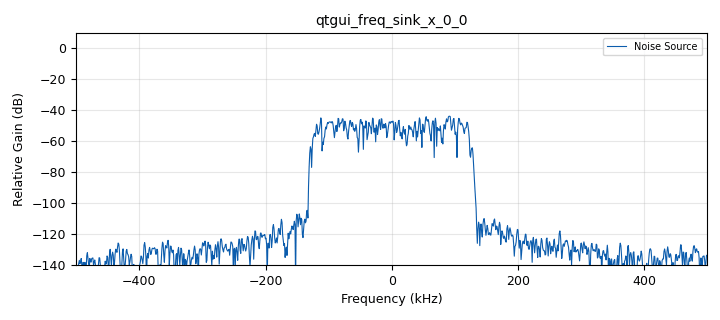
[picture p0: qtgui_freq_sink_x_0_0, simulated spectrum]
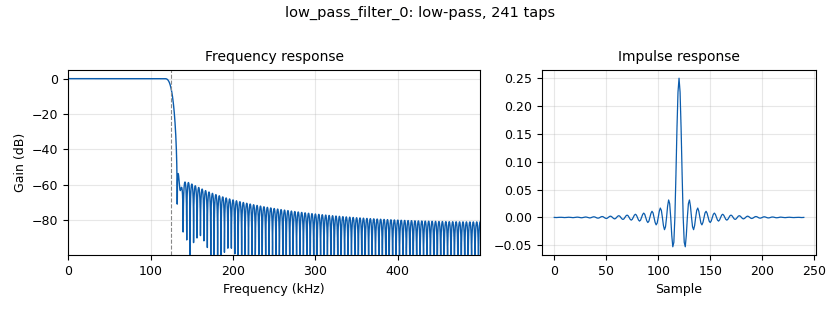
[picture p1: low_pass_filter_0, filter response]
<?xml version='1.0' encoding='utf-8'?>
<?grc format='1' created='3.7.12'?>
<flow_graph>
<block>
<key>options</key>
<param><key>id</key><value>concatenated_qpsk_modem_txrx_gui_noise_gen</value></param>
<param><key>generate_options</key><value>qt_gui</value></param>
<param><key>max_nouts</key><value>1279*8*sps_tx</value></param>
<param><key>realtime_scheduling</key><value>1</value></param>
</block>
<block>
<key>variable</key>
<param><key>id</key><value>R</value></param>
<param><key>value</key><value>1/2.</value></param>
</block>
<block>
<key>variable</key>
<param><key>id</key><value>arity</value></param>
<param><key>value</key><value>2**constel.bits_per_symbol()</value></param>
</block>
<block>
<key>variable</key>
<param><key>id</key><value>bps</value></param>
<param><key>value</key><value>constel.bits_per_symbol()</value></param>
</block>
<block>
<key>variable_constellation</key>
<param><key>id</key><value>constel</value></param>
<param><key>const_points</key><value>digital.psk_2()[0]</value></param>
<param><key>type</key><value>qpsk</value></param>
<param><key>soft_dec_lut</key><value>'auto'</value></param>
<param><key>precision</key><value>8</value></param>
<param><key>sym_map</key><value>digital.psk_2()[1]</value></param>
</block>
<block>
<key>variable</key>
<param><key>id</key><value>eb</value></param>
<param><key>value</key><value>0.7</value></param>
</block>
<block>
<key>variable_qtgui_range</key>
<param><key>id</key><value>idle_frame_shift</value></param>
<param><key>value</key><value>-12+8+4</value></param>
<param><key>_enabled</key><value>0</value></param>
<param><key>gui_hint</key><value>6,0,1,2</value></param>
<param><key>label</key><value>Idle Frame Shift</value></param>
<param><key>orient</key><value>Qt.Horizontal</value></param>
<param><key>start</key><value>-64</value></param>
<param><key>step</key><value>2</value></param>
<param><key>stop</key><value>64</value></param>
</block>
<block>
<key>variable</key>
<param><key>id</key><value>idle_frame_shift</value></param>
<param><key>_enabled</key><value>0</value></param>
<param><key>value</key><value>-12+8+4-4</value></param>
</block>
<block>
<key>variable_modulate_vector</key>
<param><key>id</key><value>modulated_preamble_untrimmed</value></param>
<param><key>data</key><value>encoded_sync_word+[0]*6+encoded_sync_word+[255]*6+encoded_sync_word+[0]*6</value></param>
<param><key>_enabled</key><value>0</value></param>
<param><key>taps</key><value>[1]</value></param>
<param><key>mod</key><value>digital.generic_mod(constellation=constel,differential=False,samples_per_symbol=sps_rx,pre_diff_code=True,excess_bw=eb,verbose=False,log=False)</value></param>
</block>
<block>
<key>variable</key>
<param><key>id</key><value>modulated_sync_word</value></param>
<param><key>_enabled</key><value>0</value></param>
<param><key>value</key><value>[modulated_preamble_untrimmed[i] for i in range(555, 775)]</value></param>
</block>
<block>
<key>variable</key>
<param><key>id</key><value>nfilts</value></param>
<param><key>value</key><value>32</value></param>
</block>
<block>
<key>variable</key>
<param><key>id</key><value>rrc_taps</value></param>
<param><key>value</key><value>firdes.root_raised_cosine(nfilts, nfilts, 1.0/float(sps_rx), eb, 11*sps_rx*nfilts)</value></param>
</block>
<block>
<key>variable</key>
<param><key>id</key><value>rx_data_rate</value></param>
<param><key>value</key><value>rx_user_data_rate/R</value></param>
</block>
<block>
<key>variable</key>
<param><key>id</key><value>rx_data_rate_sps</value></param>
<param><key>value</key><value>rx_data_rate/bps</value></param>
</block>
<block>
<key>variable</key>
<param><key>id</key><value>samp_rate_rx</value></param>
<param><key>value</key><value>rx_data_rate*sps_rx</value></param>
</block>
<block>
<key>variable</key>
<param><key>id</key><value>samp_rate_tx</value></param>
<param><key>value</key><value>tx_data_rate*sps_tx</value></param>
</block>
<block>
<key>variable</key>
<param><key>id</key><value>sps_rx</value></param>
<param><key>value</key><value>2</value></param>
</block>
<block>
<key>variable</key>
<param><key>id</key><value>sps_tx</value></param>
<param><key>value</key><value>2</value></param>
</block>
<block>
<key>variable</key>
<param><key>id</key><value>tx_data_rate</value></param>
<param><key>value</key><value>tx_user_data_rate/R</value></param>
</block>
<block>
<key>variable</key>
<param><key>id</key><value>tx_data_rate_sps</value></param>
<param><key>value</key><value>tx_data_rate/bps</value></param>
</block>
<block>
<key>variable</key>
<param><key>id</key><value>user_data_rate</value></param>
<param><key>_enabled</key><value>0</value></param>
<param><key>value</key><value>0.25e6*0+125e3/2</value></param>
</block>
<block>
<key>analog_fastnoise_source_x</key>
<param><key>id</key><value>analog_fastnoise_source_x_0</value></param>
<param><key>amp</key><value>.2</value></param>
<param><key>noise_type</key><value>analog.GR_GAUSSIAN</value></param>
<param><key>type</key><value>complex</value></param>
<param><key>seed</key><value>0</value></param>
<param><key>samples</key><value>8192</value></param>
</block>
<block>
<key>blocks_char_to_float</key>
<param><key>id</key><value>blocks_char_to_float_0</value></param>
<param><key>_enabled</key><value>0</value></param>
<param><key>scale</key><value>1</value></param>
</block>
<block>
<key>blocks_complex_to_arg</key>
<param><key>id</key><value>blocks_complex_to_arg_1</value></param>
<param><key>_enabled</key><value>0</value></param>
</block>
<block>
<key>blocks_complex_to_mag_squared</key>
<param><key>id</key><value>blocks_complex_to_mag_squared_0</value></param>
<param><key>_enabled</key><value>0</value></param>
</block>
<block>
<key>blocks_file_sink</key>
<param><key>id</key><value>blocks_file_sink_0</value></param>
<param><key>_enabled</key><value>0</value></param>
<param><key>file</key><value>file_prefix + "/Downloads/blah.txt"</value></param>
<param><key>type</key><value>byte</value></param>
</block>
<block>
<key>blocks_multiply_const_vxx</key>
<param><key>id</key><value>blocks_multiply_const_vxx_1_0</value></param>
<param><key>const</key><value>1.0/pi</value></param>
<param><key>_enabled</key><value>0</value></param>
<param><key>type</key><value>float</value></param>
</block>
<block>
<key>blocks_multiply_const_vxx</key>
<param><key>id</key><value>blocks_multiply_const_vxx_1_0_0</value></param>
<param><key>const</key><value>1.0/20e3</value></param>
<param><key>_enabled</key><value>0</value></param>
<param><key>type</key><value>float</value></param>
</block>
<block>
<key>blocks_pdu_to_tagged_stream</key>
<param><key>id</key><value>blocks_pdu_to_tagged_stream_0</value></param>
<param><key>_enabled</key><value>0</value></param>
<param><key>type</key><value>byte</value></param>
<param><key>tag</key><value>packet_len</value></param>
</block>
<block>
<key>blocks_stream_to_tagged_stream</key>
<param><key>id</key><value>blocks_stream_to_tagged_stream_0</value></param>
<param><key>_enabled</key><value>0</value></param>
<param><key>len_tag_key</key><value>"packet_len"</value></param>
<param><key>packet_len</key><value>1115</value></param>
<param><key>type</key><value>byte</value></param>
</block>
<block>
<key>digital_corr_est_cc</key>
<param><key>id</key><value>digital_corr_est_cc_0_0</value></param>
<param><key>_enabled</key><value>0</value></param>
<param><key>sps</key><value>sps_rx</value></param>
<param><key>symbols</key><value>modulated_sync_word</value></param>
<param><key>mark_delay</key><value>len(modulated_sync_word)-1-sps_tx/2</value></param>
<param><key>threshold</key><value>threshold</value></param>
</block>
<block>
<key>epy_module</key>
<param><key>id</key><value>epy_tools</value></param>
<param><key>source_code</key><value>
def reverse_bits(x):
    return int(bin(x)[2:][::-1], base=2)

</value></param>
</block>
<block>
<key>parameter</key>
<param><key>id</key><value>eq_gain</value></param>
<param><key>label</key><value>Equalizer Rate</value></param>
<param><key>type</key><value>eng_float</value></param>
<param><key>value</key><value>0.01</value></param>
</block>
<block>
<key>parameter</key>
<param><key>id</key><value>file_prefix</value></param>
<param><key>label</key><value>File Prefix</value></param>
<param><key>type</key><value>string</value></param>
<param><key>value</key><value>expanduser('~')</value></param>
</block>
<block>
<key>parameter</key>
<param><key>id</key><value>gain</value></param>
<param><key>label</key><value>Gain</value></param>
<param><key>type</key><value>eng_float</value></param>
<param><key>value</key><value>40</value></param>
</block>
<block>
<key>he2pi_file_zeropad_source</key>
<param><key>id</key><value>he2pi_file_zeropad_source_0</value></param>
<param><key>_enabled</key><value>0</value></param>
<param><key>file</key><value>file_prefix + "/Downloads/shakespeare.txt"</value></param>
<param><key>type</key><value>byte</value></param>
<param><key>repeat</key><value>True</value></param>
<param><key>slp</key><value>1000</value></param>
<param><key>vlen</key><value>1</value></param>
<param><key>zeropad</key><value>int(samp_rate_tx)</value></param>
</block>
<block>
<key>parameter</key>
<param><key>id</key><value>idle_block_time</value></param>
<param><key>label</key><value>Idle Block Time (ms)</value></param>
<param><key>type</key><value>eng_float</value></param>
<param><key>value</key><value>50</value></param>
</block>
<block>
<key>import</key>
<param><key>id</key><value>import_home</value></param>
<param><key>import</key><value>from os.path import expanduser</value></param>
</block>
<block>
<key>import</key>
<param><key>id</key><value>import_pi</value></param>
<param><key>import</key><value>from math import pi</value></param>
</block>
<block>
<key>low_pass_filter</key>
<param><key>id</key><value>low_pass_filter_0</value></param>
<param><key>cutoff_freq</key><value>tx_data_rate_sps/2</value></param>
<param><key>decim</key><value>1</value></param>
<param><key>type</key><value>fir_filter_ccf</value></param>
<param><key>gain</key><value>1</value></param>
<param><key>samp_rate</key><value>samp_rate_tx</value></param>
<param><key>width</key><value>10e3</value></param>
<param><key>win</key><value>firdes.WIN_HAMMING</value></param>
</block>
<block>
<key>parameter</key>
<param><key>id</key><value>mtu</value></param>
<param><key>label</key><value>MTU</value></param>
<param><key>type</key><value>intx</value></param>
<param><key>value</key><value>1115</value></param>
</block>
<block>
<key>parameter</key>
<param><key>id</key><value>phase_bw</value></param>
<param><key>label</key><value>Phase Bandwidth</value></param>
<param><key>type</key><value>eng_float</value></param>
<param><key>value</key><value>6.28/100.0*0+0.05</value></param>
</block>
<block>
<key>qtgui_freq_sink_x</key>
<param><key>id</key><value>qtgui_freq_sink_x_0</value></param>
<param><key>bw</key><value>samp_rate_rx</value></param>
<param><key>fc</key><value>0</value></param>
<param><key>fftsize</key><value>1024</value></param>
<param><key>label1</key><value>Received</value></param>
<param><key>showports</key><value>True</value></param>
<param><key>type</key><value>complex</value></param>
<param><key>wintype</key><value>firdes.WIN_BLACKMAN_hARRIS</value></param>
</block>
<block>
<key>qtgui_freq_sink_x</key>
<param><key>id</key><value>qtgui_freq_sink_x_0_0</value></param>
<param><key>bw</key><value>samp_rate_tx</value></param>
<param><key>fc</key><value>0</value></param>
<param><key>fftsize</key><value>1024</value></param>
<param><key>label1</key><value>Noise Source</value></param>
<param><key>showports</key><value>True</value></param>
<param><key>type</key><value>complex</value></param>
<param><key>wintype</key><value>firdes.WIN_BLACKMAN_hARRIS</value></param>
</block>
<block>
<key>qtgui_time_sink_x</key>
<param><key>id</key><value>qtgui_time_sink_x_0</value></param>
<param><key>_enabled</key><value>0</value></param>
<param><key>color1</key><value>"blue"</value></param>
<param><key>label1</key><value></value></param>
<param><key>size</key><value>1024</value></param>
<param><key>srate</key><value>user_data_rate</value></param>
<param><key>type</key><value>float</value></param>
</block>
<block>
<key>qtgui_time_sink_x</key>
<param><key>id</key><value>qtgui_time_sink_x_2_0_0</value></param>
<param><key>_enabled</key><value>0</value></param>
<param><key>grid</key><value>True</value></param>
<param><key>color1</key><value>"blue"</value></param>
<param><key>label1</key><value>"Rx Phase"</value></param>
<param><key>color2</key><value>"red"</value></param>
<param><key>label2</key><value>"|Correlation|^2"</value></param>
<param><key>name</key><value>"Correlation Outputs"</value></param>
<param><key>nconnections</key><value>2</value></param>
<param><key>size</key><value>1024*4</value></param>
<param><key>srate</key><value>samp_rate_tx</value></param>
<param><key>tr_delay</key><value>0.0005</value></param>
<param><key>tr_level</key><value>0.5</value></param>
<param><key>tr_mode</key><value>qtgui.TRIG_MODE_TAG</value></param>
<param><key>tr_tag</key><value>"corr_start"</value></param>
<param><key>type</key><value>float</value></param>
<param><key>ymax</key><value>1.5</value></param>
<param><key>ymin</key><value>-1.5</value></param>
</block>
<block>
<key>parameter</key>
<param><key>id</key><value>rx_freq</value></param>
<param><key>label</key><value>RX Frequency</value></param>
<param><key>type</key><value>eng_float</value></param>
<param><key>value</key><value>415e6</value></param>
</block>
<block>
<key>parameter</key>
<param><key>id</key><value>rx_user_data_rate</value></param>
<param><key>label</key><value>RX Data Rate</value></param>
<param><key>short_id</key><value>r</value></param>
<param><key>type</key><value>intx</value></param>
<param><key>value</key><value>250000</value></param>
</block>
<block>
<key>parameter</key>
<param><key>id</key><value>threshold</value></param>
<param><key>label</key><value>Threshold</value></param>
<param><key>type</key><value>eng_float</value></param>
<param><key>value</key><value>0.999</value></param>
</block>
<block>
<key>parameter</key>
<param><key>id</key><value>tun</value></param>
<param><key>label</key><value>TUN Name</value></param>
<param><key>type</key><value>string</value></param>
<param><key>value</key><value>tun1</value></param>
</block>
<block>
<key>parameter</key>
<param><key>id</key><value>tx_freq</value></param>
<param><key>label</key><value>TX Frequency</value></param>
<param><key>type</key><value>eng_float</value></param>
<param><key>value</key><value>400e6</value></param>
</block>
<block>
<key>parameter</key>
<param><key>id</key><value>tx_user_data_rate</value></param>
<param><key>label</key><value>TX Data Rate</value></param>
<param><key>short_id</key><value>t</value></param>
<param><key>type</key><value>intx</value></param>
<param><key>value</key><value>250000</value></param>
</block>
<block>
<key>uhd_usrp_sink</key>
<param><key>id</key><value>uhd_usrp_sink_0</value></param>
<param><key>ant0</key><value>TX/RX</value></param>
<param><key>center_freq0</key><value>uhd.tune_request(tx_freq, data_rate*2*0+1e6)</value></param>
<param><key>norm_gain0</key><value>False</value></param>
<param><key>gain0</key><value>gain</value></param>
<param><key>clock_rate</key><value>0.0</value></param>
<param><key>dev_args</key><value>""</value></param>
<param><key>_enabled</key><value>0</value></param>
<param><key>type</key><value>fc32</value></param>
<param><key>samp_rate</key><value>samp_rate_tx</value></param>
<param><key>hide_cmd_port</key><value>False</value></param>
<param><key>hide_lo_controls</key><value>True</value></param>
<param><key>sync</key><value></value></param>
<param><key>len_tag_name</key><value></value></param>
</block>
<block>
<key>uhd_usrp_sink</key>
<param><key>id</key><value>uhd_usrp_sink_0_0</value></param>
<param><key>ant0</key><value>TX/RX</value></param>
<param><key>center_freq0</key><value>tx_freq</value></param>
<param><key>norm_gain0</key><value>False</value></param>
<param><key>gain0</key><value>gain</value></param>
<param><key>clock_rate</key><value>0.0</value></param>
<param><key>dev_args</key><value>""</value></param>
<param><key>type</key><value>fc32</value></param>
<param><key>samp_rate</key><value>samp_rate_tx</value></param>
<param><key>hide_cmd_port</key><value>False</value></param>
<param><key>hide_lo_controls</key><value>True</value></param>
<param><key>stream_args</key><value>peak=0.7</value></param>
<param><key>sync</key><value></value></param>
<param><key>len_tag_name</key><value></value></param>
</block>
<block>
<key>uhd_usrp_source</key>
<param><key>id</key><value>uhd_usrp_source_0</value></param>
<param><key>ant0</key><value>RX2</value></param>
<param><key>center_freq0</key><value>rx_freq</value></param>
<param><key>dc_offs_enb0</key><value>""</value></param>
<param><key>iq_imbal_enb0</key><value>""</value></param>
<param><key>norm_gain0</key><value>False</value></param>
<param><key>gain0</key><value>gain</value></param>
<param><key>clock_rate</key><value>0.0</value></param>
<param><key>dev_args</key><value>""</value></param>
<param><key>type</key><value>fc32</value></param>
<param><key>samp_rate</key><value>samp_rate_rx</value></param>
<param><key>hide_cmd_port</key><value>False</value></param>
<param><key>hide_lo_controls</key><value>True</value></param>
<param><key>sync</key><value></value></param>
</block>
<block>
<key>uhd_usrp_source</key>
<param><key>id</key><value>uhd_usrp_source_0_0</value></param>
<param><key>ant0</key><value>RX2</value></param>
<param><key>center_freq0</key><value>rx_freq</value></param>
<param><key>dc_offs_enb0</key><value>""</value></param>
<param><key>iq_imbal_enb0</key><value>""</value></param>
<param><key>norm_gain0</key><value>False</value></param>
<param><key>gain0</key><value>gain</value></param>
<param><key>clock_rate</key><value>0.0</value></param>
<param><key>dev_args</key><value>""</value></param>
<param><key>_enabled</key><value>0</value></param>
<param><key>type</key><value>fc32</value></param>
<param><key>samp_rate</key><value>samp_rate_rx</value></param>
<param><key>hide_cmd_port</key><value>False</value></param>
<param><key>hide_lo_controls</key><value>True</value></param>
<param><key>sync</key><value></value></param>
</block>
<connection><source_block_id>analog_fastnoise_source_x_0</source_block_id><sink_block_id>low_pass_filter_0</sink_block_id><source_key>0</source_key><sink_key>0</sink_key></connection>
<connection><source_block_id>blocks_char_to_float_0</source_block_id><sink_block_id>qtgui_time_sink_x_0</sink_block_id><source_key>0</source_key><sink_key>0</sink_key></connection>
<connection><source_block_id>blocks_complex_to_arg_1</source_block_id><sink_block_id>blocks_multiply_const_vxx_1_0</sink_block_id><source_key>0</source_key><sink_key>0</sink_key></connection>
<connection><source_block_id>blocks_complex_to_mag_squared_0</source_block_id><sink_block_id>blocks_multiply_const_vxx_1_0_0</sink_block_id><source_key>0</source_key><sink_key>0</sink_key></connection>
<connection><source_block_id>blocks_multiply_const_vxx_1_0</source_block_id><sink_block_id>qtgui_time_sink_x_2_0_0</sink_block_id><source_key>0</source_key><sink_key>0</sink_key></connection>
<connection><source_block_id>blocks_multiply_const_vxx_1_0_0</source_block_id><sink_block_id>qtgui_time_sink_x_2_0_0</sink_block_id><source_key>0</source_key><sink_key>1</sink_key></connection>
<connection><source_block_id>blocks_pdu_to_tagged_stream_0</source_block_id><sink_block_id>blocks_file_sink_0</sink_block_id><source_key>0</source_key><sink_key>0</sink_key></connection>
<connection><source_block_id>digital_corr_est_cc_0_0</source_block_id><sink_block_id>blocks_complex_to_mag_squared_0</sink_block_id><source_key>1</source_key><sink_key>0</sink_key></connection>
<connection><source_block_id>digital_corr_est_cc_0_0</source_block_id><sink_block_id>blocks_complex_to_arg_1</sink_block_id><source_key>0</source_key><sink_key>0</sink_key></connection>
<connection><source_block_id>he2pi_file_zeropad_source_0</source_block_id><sink_block_id>blocks_stream_to_tagged_stream_0</sink_block_id><source_key>0</source_key><sink_key>0</sink_key></connection>
<connection><source_block_id>low_pass_filter_0</source_block_id><sink_block_id>qtgui_freq_sink_x_0_0</sink_block_id><source_key>0</source_key><sink_key>0</sink_key></connection>
<connection><source_block_id>low_pass_filter_0</source_block_id><sink_block_id>uhd_usrp_sink_0_0</sink_block_id><source_key>0</source_key><sink_key>0</sink_key></connection>
<connection><source_block_id>uhd_usrp_source_0</source_block_id><sink_block_id>qtgui_freq_sink_x_0</sink_block_id><source_key>0</source_key><sink_key>0</sink_key></connection>
</flow_graph>
